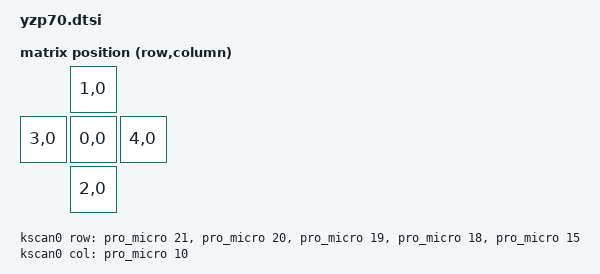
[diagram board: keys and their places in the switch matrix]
/*
 * Copyright (c) 2020 The ZMK Contributors
 *
 * SPDX-License-Identifier: MIT
 */

#include <dt-bindings/zmk/matrix_transform.h>

/ {
    chosen {
        zmk,kscan = &kscan0;
        zmk,matrix_transform = &default_transform;
    };

    kscan0: kscan {
        compatible = "zmk,kscan-gpio-matrix";
        label = "KSCAN";

        diode-direction = "col2row";
        row-gpios=  <&pro_micro 21 (GPIO_ACTIVE_HIGH | GPIO_PULL_DOWN)> 
				         , <&pro_micro 20 (GPIO_ACTIVE_HIGH | GPIO_PULL_DOWN)> 
				         , <&pro_micro 19 (GPIO_ACTIVE_HIGH | GPIO_PULL_DOWN)> 
				         , <&pro_micro 18 (GPIO_ACTIVE_HIGH | GPIO_PULL_DOWN)> 
                         , <&pro_micro 15 (GPIO_ACTIVE_HIGH | GPIO_PULL_DOWN)> 
            ;
        col-gpios
            = <&pro_micro 10 (GPIO_ACTIVE_HIGH | GPIO_PULL_DOWN)> 
           
            ;
    };

    default_transform: keymap_transform_0 {
        compatible = "zmk,matrix-transform";
        columns = <1>;
        rows = <5>;

        map = <
                        
                          RC(1,0)            
                 RC(3,0) RC(0,0) RC(4,0)   
				          RC(2,0)                     
        >;
    };
};

